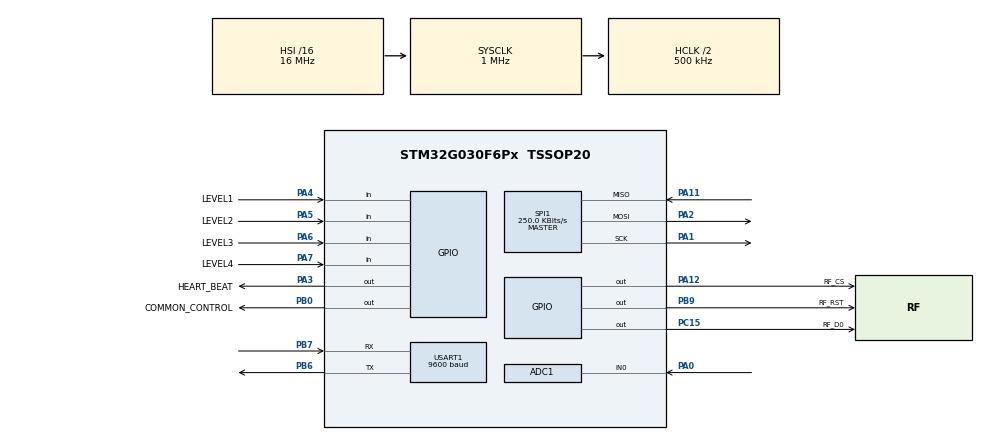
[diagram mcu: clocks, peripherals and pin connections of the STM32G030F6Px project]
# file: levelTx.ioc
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ADC1.Channel-0\#ChannelRegularConversion=ADC_CHANNEL_0
ADC1.ContinuousConvMode=ENABLE
ADC1.DMAContinuousRequests=ENABLE
ADC1.NbrOfConversionFlag=1
ADC1.Rank-0\#ChannelRegularConversion=1
ADC1.SamplingTime-0\#ChannelRegularConversion=ADC_SAMPLINGTIME_COMMON_1
ADC1.SelectedChannel=ADC_CHANNEL_0
ADC1.master=1
Dma.ADC1.0.Direction=DMA_PERIPH_TO_MEMORY
Dma.ADC1.0.EventEnable=DISABLE
Dma.ADC1.0.Instance=DMA1_Channel1
Dma.ADC1.0.MemDataAlignment=DMA_MDATAALIGN_HALFWORD
Dma.ADC1.0.MemInc=DMA_MINC_ENABLE
Dma.ADC1.0.Mode=DMA_CIRCULAR
Dma.ADC1.0.PeriphDataAlignment=DMA_PDATAALIGN_HALFWORD
Dma.ADC1.0.PeriphInc=DMA_PINC_DISABLE
Dma.ADC1.0.Polarity=HAL_DMAMUX_REQ_GEN_RISING
Dma.ADC1.0.Priority=DMA_PRIORITY_LOW
Dma.ADC1.0.RequestNumber=1
Dma.ADC1.0.SignalID=NONE
Dma.ADC1.0.SyncEnable=DISABLE
Dma.ADC1.0.SyncPolarity=HAL_DMAMUX_SYNC_NO_EVENT
Dma.ADC1.0.SyncRequestNumber=1
Dma.ADC1.0.SyncSignalID=NONE
Dma.Request0=ADC1
Mcu.Family=STM32G0
Mcu.Name=STM32G030F6Px
Mcu.Package=TSSOP20
NVIC.DMA1_Channel1_IRQn=true\:0\:0\:false\:false\:true\:false\:true\:true
NVIC.RTC_TAMP_IRQn=true\:0\:0\:false\:false\:true\:true\:true\:true
PA0.Mode=IN0
PA0.Signal=ADC1_IN0
PA1.Mode=Full_Duplex_Master
PA1.Signal=SPI1_SCK
PA11\ [PA9].Mode=Full_Duplex_Master
PA11\ [PA9].Signal=SPI1_MISO
PA12\ [PA10].GPIO_Label=RF_CS
PA12\ [PA10].Signal=GPIO_Output
PA13.Mode=Serial_Wire
PA13.Signal=SYS_SWDIO
PA14-BOOT0.Mode=Serial_Wire
PA14-BOOT0.Signal=SYS_SWCLK
PA14-BOOT0__PA15.StandardMode=true
PA2.Mode=Full_Duplex_Master
PA2.Signal=SPI1_MOSI
PA3.GPIO_Label=HEART_BEAT
PA3.PinState=GPIO_PIN_SET
PA3.Signal=GPIO_Output
PA4.GPIO_Label=LEVEL1
PA4.GPIO_PuPd=GPIO_PULLUP
PA4.Signal=GPIO_Input
PA5.GPIO_Label=LEVEL2
PA5.GPIO_PuPd=GPIO_PULLUP
PA5.Signal=GPIO_Input
PA6.GPIO_Label=LEVEL3
PA6.GPIO_PuPd=GPIO_PULLUP
PA6.Signal=GPIO_Input
PA7.GPIO_Label=LEVEL4
PA7.GPIO_PuPd=GPIO_PULLUP
PA7.Signal=GPIO_Input
PB0.GPIO_Label=COMMON_CONTROL
PB0.Signal=GPIO_Output
PB0__PB1__PB2__PA8.StandardMode=true
PB3__PB4__PB5__PB6.StandardMode=true
PB6.Mode=Asynchronous
PB6.Signal=USART1_TX
PB7.Mode=Asynchronous
PB7.Signal=USART1_RX
PB7__PB8.StandardMode=true
PB9.GPIO_Label=RF_RST
PB9.Signal=GPIO_Output
PC14-OSC32_IN\ (PC14)__PB9.StandardMode=true
PC15-OSC32_OUT\ (PC15).GPIO_Label=RF_D0
PC15-OSC32_OUT\ (PC15).Signal=GPIO_Output
ProjectManager.HeapSize=0x200
ProjectManager.StackSize=0x400
ProjectManager.TargetToolchain=STM32CubeIDE
RCC.ADCFreq_Value=1000000
RCC.AHBCLKDivider=RCC_SYSCLK_DIV2
RCC.AHBFreq_Value=500000
RCC.CortexFreq_Value=500000
RCC.EXTERNAL_CLOCK_VALUE=12288000
RCC.HCLKFreq_Value=500000
RCC.HSE_VALUE=8000000
RCC.HSISYSCLKDivider=RCC_HSI_DIV16
RCC.HSI_VALUE=16000000
RCC.LSE_VALUE=32768
RCC.SYSCLKFreq_VALUE=1000000
RCC.VCOOutputFreq_Value=128000000
RTC.WakeUpClock-WakeUp=RTC_WAKEUPCLOCK_CK_SPRE_16BITS
RTC.WakeUpCounter-WakeUp=20
SPI1.CalculateBaudRate=250.0 KBits/s
SPI1.Direction=SPI_DIRECTION_2LINES
SPI1.Mode=SPI_MODE_MASTER
SPI1.VirtualType=VM_MASTER
USART1.BaudRate=9600
USART1.VirtualMode-Asynchronous=VM_ASYNC
VP_RTC_VS_RTC_Activate.Mode=RTC_Enabled
VP_RTC_VS_RTC_WakeUp_intern.Mode=WakeUp
board=custom

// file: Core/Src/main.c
/* USER CODE BEGIN Header */
/**
  ******************************************************************************
  * @file           : main.c
  * @brief          : Main program body
  ******************************************************************************
  * @attention
  *
  * Copyright (c) 2024 STMicroelectronics.
  * All rights reserved.
  *
  * This software is licensed under terms that can be found in the LICENSE file
  * in the root directory of this software component.
  * If no LICENSE file comes with this software, it is provided AS-IS.
  *
  ******************************************************************************
  */
/* USER CODE END Header */
#include "main.h"
#include "adc.h"
#include "dma.h"
#include "rtc.h"
#include "spi.h"
#include "usart.h"
#include "gpio.h"

/* USER CODE BEGIN Includes */
#include "LoRa.h"
/* USER CODE END Includes */

/* USER CODE BEGIN PTD */
extern SPI_HandleTypeDef hspi1;
/* USER CODE END PTD */

void SystemClock_Config(void);
/* USER CODE BEGIN PFP */
LoRa myLoRa;
/* USER CODE END PFP */

/* USER CODE BEGIN 0 */
uint8_t readLevel(void)
{
	uint8_t ret = 0;
	HAL_GPIO_WritePin(COMMON_CONTROL_GPIO_Port, COMMON_CONTROL_Pin, 0);
	HAL_Delay(300);
	if(!HAL_GPIO_ReadPin(LEVEL1_GPIO_Port, LEVEL1_Pin))
		ret |= 0x01;
	if(!HAL_GPIO_ReadPin(LEVEL2_GPIO_Port, LEVEL2_Pin))
		ret |= 0x02;
	if(!HAL_GPIO_ReadPin(LEVEL3_GPIO_Port, LEVEL3_Pin))
		ret |= 0x04;
	if(!HAL_GPIO_ReadPin(LEVEL4_GPIO_Port, LEVEL4_Pin))
		ret |= 0x08;
	HAL_GPIO_WritePin(COMMON_CONTROL_GPIO_Port, COMMON_CONTROL_Pin, 1);
	HAL_Delay(300);
	return ret;
}

void enterShutDown(void)
{
	// Enable PWR clock
	    __HAL_RCC_PWR_CLK_ENABLE();
	    HAL_SuspendTick();
	    // Clear reset flags after handling
	        __HAL_RCC_CLEAR_RESET_FLAGS();

	        // Enable wake-up pin (if using external wake-up)
	        HAL_PWR_DisableWakeUpPin(PWR_WAKEUP_PIN1|PWR_FLAG_WUF);

	// Clear Wake-Up Flags
	    __HAL_PWR_CLEAR_FLAG(PWR_FLAG_SB);
	    // Configure Low-Power Mode
	      //HAL_PWREx_EnableLowPowerRunMode();
	    // Enter Shutdown Mode
	      HAL_PWR_EnterSTANDBYMode();
	      /*HAL_PWR_EnterSHUTDOWNMode();
	        HAL_PWR_EnterSTOPMode(PWR_LOWPOWERREGULATOR_ON, PWR_STOPENTRY_WFI);*/
}
/* USER CODE END 0 */

int main(void)
{

  /* USER CODE BEGIN 1 */
	uint8_t levelVar, bufTx[5], counter = 0;
  /* USER CODE END 1 */

  /* MCU Configuration--------------------------------------------------------*/

  /* Reset of all peripherals, Initializes the Flash interface and the Systick. */
  HAL_Init();

  /* USER CODE BEGIN Init */
  myLoRa = newLoRa();
  myLoRa.CS_port         = RF_CS_GPIO_Port;
  myLoRa.CS_pin          = RF_CS_Pin;
  myLoRa.reset_port      = RF_RST_GPIO_Port;
  myLoRa.reset_pin       = RF_RST_Pin;
  myLoRa.DIO0_port       = RF_D0_GPIO_Port;
  myLoRa.DIO0_pin        = RF_D0_Pin;
  myLoRa.hSPIx           = &hspi1;
  /* USER CODE END Init */

  /* Configure the system clock */
  SystemClock_Config();

  /* Initialize all configured peripherals */
  MX_GPIO_Init();
  MX_DMA_Init();
  MX_SPI1_Init();
  MX_USART1_UART_Init();
  MX_ADC1_Init();
  MX_RTC_Init();
  /* USER CODE BEGIN 2 */
  LoRa_init(&myLoRa);
  HAL_Delay(500);
  LoRa_startReceiving(&myLoRa);
  /*uint8_t received_data[20];
  uint8_t packet_size = 0;*/
  /* USER CODE END 2 */

  /* Infinite loop */
  /* USER CODE BEGIN WHILE */
	if (__HAL_RCC_GET_FLAG(RCC_FLAG_PINRST)) {
		for(int i = 0; i < 10; i++)
		{
		  HAL_GPIO_TogglePin(HEART_BEAT_GPIO_Port, HEART_BEAT_Pin);
		  HAL_Delay(100);
		}
	} else if (__HAL_RCC_GET_FLAG(RCC_FLAG_IWDGRST)) {
	    counter = 2;
	} else if (__HAL_RCC_GET_FLAG(RCC_FLAG_PWRRST)) {
	    counter = 3;
	} else if (__HAL_RCC_GET_FLAG(RCC_FLAG_SFTRST)) {
	    counter = 4;
	} else if (__HAL_RCC_GET_FLAG(RCC_FLAG_LPWRRST)) {
	    counter = 5;
	} else if (__HAL_RCC_GET_FLAG(RCC_FLAG_LSIRDY)) {
	    counter = 5;
	} else if (__HAL_RCC_GET_FLAG(RCC_FLAG_WWDGRST)) {
	    counter = 5;
	} else if (__HAL_RCC_GET_FLAG(RCC_FLAG_OBLRST)){
	    counter = 4;
	}
  /*for(int i = 0; i < 11; i++)
  {
	  HAL_GPIO_TogglePin(HEART_BEAT_GPIO_Port, HEART_BEAT_Pin);
	  HAL_Delay(100);
  }
  HAL_UART_Transmit(&huart1, (const uint8_t *)"Level Tx unit", 13, 100);*/
  while (1)
  {
    /* USER CODE END WHILE */

    /* USER CODE BEGIN 3 */
	  //for(int i = 0; i < 3; i++)
	  {
		  //packet_size = LoRa_receive(&myLoRa, received_data, 20);
		  /*if(packet_size > 0)
		  {
			  HAL_UART_Transmit(&huart1, (const uint8_t *)received_data, packet_size, 100);
		  }*/
		  /*HAL_GPIO_WritePin(HEART_BEAT_GPIO_Port, HEART_BEAT_Pin, 0);
		  HAL_Delay(1000);
		  HAL_GPIO_WritePin(HEART_BEAT_GPIO_Port, HEART_BEAT_Pin, 1);
		  HAL_Delay(1000);*/
	  }
	  levelVar = readLevel();
	  bufTx[0] = (levelVar/10)|0x30;
	  bufTx[1] = (levelVar%10)|0x30;
	  LoRa_transmit(&myLoRa, (uint8_t*)bufTx, 2, 100);
	  if(counter < 3)
		  counter++;
	  else
	  {
		  counter = 0;
		  enterShutDown();
	  }
	  HAL_Delay(100);
	 // HAL_UART_Transmit(&huart1, (const uint8_t *)&levelVar, 1, 100);
  }
  /* USER CODE END 3 */
}

void SystemClock_Config(void)
{
  RCC_OscInitTypeDef RCC_OscInitStruct = {0};
  RCC_ClkInitTypeDef RCC_ClkInitStruct = {0};

  /** Configure the main internal regulator output voltage
  */
  HAL_PWREx_ControlVoltageScaling(PWR_REGULATOR_VOLTAGE_SCALE1);

  /** Initializes the RCC Oscillators according to the specified parameters
  * in the RCC_OscInitTypeDef structure.
  */
  RCC_OscInitStruct.OscillatorType = RCC_OSCILLATORTYPE_HSI|RCC_OSCILLATORTYPE_LSI;
  RCC_OscInitStruct.HSIState = RCC_HSI_ON;
  RCC_OscInitStruct.HSIDiv = RCC_HSI_DIV16;
  RCC_OscInitStruct.HSICalibrationValue = RCC_HSICALIBRATION_DEFAULT;
  RCC_OscInitStruct.LSIState = RCC_LSI_ON;
  RCC_OscInitStruct.PLL.PLLState = RCC_PLL_NONE;
  if (HAL_RCC_OscConfig(&RCC_OscInitStruct) != HAL_OK)
  {
    Error_Handler();
  }

  /** Initializes the CPU, AHB and APB buses clocks
  */
  RCC_ClkInitStruct.ClockType = RCC_CLOCKTYPE_HCLK|RCC_CLOCKTYPE_SYSCLK
                              |RCC_CLOCKTYPE_PCLK1;
  RCC_ClkInitStruct.SYSCLKSource = RCC_SYSCLKSOURCE_HSI;
  RCC_ClkInitStruct.AHBCLKDivider = RCC_SYSCLK_DIV2;
  RCC_ClkInitStruct.APB1CLKDivider = RCC_HCLK_DIV1;

  if (HAL_RCC_ClockConfig(&RCC_ClkInitStruct, FLASH_LATENCY_0) != HAL_OK)
  {
    Error_Handler();
  }
}

void Error_Handler(void)
{
  __disable_irq();
  while (1)
  {
  }
}
